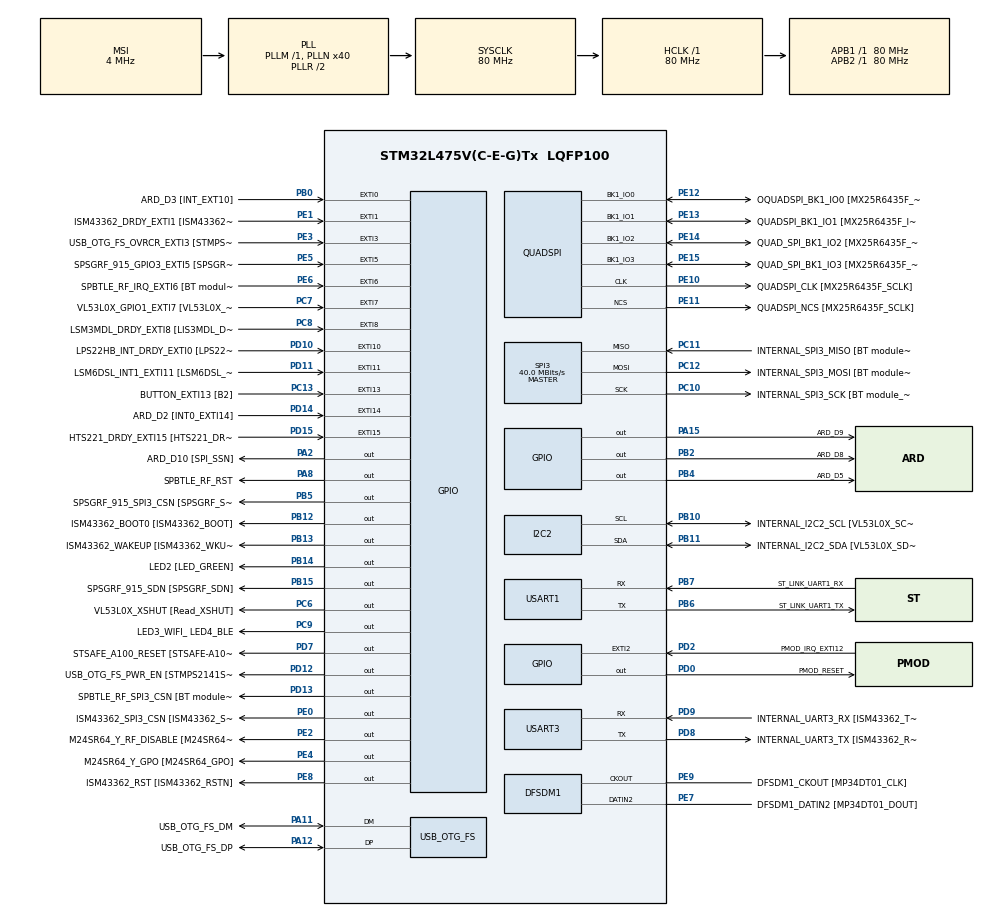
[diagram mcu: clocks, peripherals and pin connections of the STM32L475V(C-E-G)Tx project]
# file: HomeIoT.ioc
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PD12.GPIO_Label=USB_OTG_FS_PWR_EN [STMPS2141STR_EN]
SPI3.Direction=SPI_DIRECTION_2LINES
SPI3.VirtualType=VM_MASTER
QUADSPI.ClockPrescaler=2
PB10.Mode=I2C
PC12.Signal=SPI3_MOSI
PB14.GPIO_Label=LED2 [LED_GREEN]
PC6.GPIO_Label=VL53L0X_XSHUT [Read_XSHUT]
PA6.GPIO_Label=ARD_D12 [SPI1_MISO]
PB6.GPIO_Label=ST_LINK_UART1_TX
PA15\ (JTDI).Signal=GPIO_Output
PC15-OSC32_OUT\ (PC15).Mode=LSE-External-Oscillator
PB13.Signal=GPIO_Output
PD6.GPIO_Label=PMOD_UART2_RX
PE6.GPIO_Label=SPBTLE_RF_IRQ_EXTI6 [BT module_SPI_IRQ]
RCC.SYSCLKSource=RCC_SYSCLKSOURCE_PLLCLK
PC14-OSC32_IN\ (PC14).Mode=LSE-External-Oscillator
SH.ADCx_IN16.0=ADC1_IN16
USART3.VirtualMode-Asynchronous=VM_ASYNC
PA14\ (JTCK-SWCLK).Signal=SYS_JTCK-SWCLK
PD4.Signal=USART2_RTS
RCC.APB2TimFreq_Value=80000000
PB6.Signal=USART1_TX
PC7.Signal=GPXTI7
PB6.Mode=Asynchronous
PC3.Signal=ADCx_IN4
PD0.Signal=GPIO_Output
PD8.Signal=USART3_TX
PE5.Signal=GPXTI5
PE1.Signal=GPXTI1
QUADSPI.FlashSize=23
NVIC.EXTI15_10_IRQn=true\:0\:0\:false\:false\:true\:true\:true
PB2.Signal=GPIO_Output
PD1.GPIO_Label=PMOD_SPI2_SCK
PB12.GPIO_Label=ISM43362_BOOT0 [ISM43362_BOOT]
PC4.GPIO_Label=ARD_A1 [ADC]
PE9.Signal=S_CKOUTDFSDM1
PB1.GPIO_Label=ARD_D6 [ADC1_IN6]
PE4.GPIO_Label=M24SR64_Y_GPO [M24SR64_GPO]
PE2.Signal=GPIO_Output
PA8.Signal=GPIO_Output
PE13.Mode=Single Bank
PE10.Signal=QUADSPI_CLK
PA0.Signal=UART4_TX
Mcu.Package=LQFP100
PB9.Signal=I2C1_SDA
PB1.Signal=ADCx_IN16
SPI3.Mode=SPI_MODE_MASTER
SH.ADCx_IN14.0=ADC1_IN14
PD12.Signal=GPIO_Output
PA10.Signal=USB_OTG_FS_ID
PE12.GPIO_Label=OQUADSPI_BK1_IO0 [MX25R6435F_IO0]
PC11.Mode=Full_Duplex_Master
SH.ADCx_IN9.0=ADC1_IN9
RCC.APB1TimFreq_Value=80000000
PA13\ (JTMS-SWDIO).Signal=SYS_JTMS-SWDIO
PE10.GPIO_Label=QUADSPI_CLK [MX25R6435F_SCLK]
PA4.GPIO_Label=ARD_D7
PD15.Signal=GPXTI15
PE12.Mode=Single Bank
PD9.GPIO_Label=INTERNAL_UART3_RX [ISM43362_TX]
PA9.GPIO_Label=USB_OTG_FS_VBUS [STMPS2141STR_OUT]
PC13.Signal=GPXTI13
PD3.Signal=USART2_CTS
PC6.Signal=GPIO_Output
PE10.Mode=Single Bank
PC2.Signal=ADCx_IN3
PB11.GPIO_Label=INTERNAL_I2C2_SDA [VL53L0X_SDA]
PD7.Signal=GPIO_Output
PD1.Signal=SPI2_SCK
PA11.GPIO_Label=USB_OTG_FS_DM
PC0.Signal=ADCx_IN1
PD10.Signal=GPXTI10
PB8.GPIO_Label=ARD_D15 [I2C1_SCL]
PA8.GPIO_Label=SPBTLE_RF_RST
PB11.Mode=I2C
PE8.GPIO_Label=ISM43362_RST [ISM43362_RSTN]
PA9.Signal=USB_OTG_FS_VBUS
PE9.GPIO_Label=DFSDM1_CKOUT [MP34DT01_CLK]
PD8.Mode=Asynchronous
PB10.Signal=I2C2_SCL
PB14.Signal=GPIO_Output
PA5.Signal=SPI1_SCK
PC12.Mode=Full_Duplex_Master
PE1.GPIO_Label=ISM43362_DRDY_EXTI1 [ISM43362_DATARDY]
PE14.Signal=QUADSPI_BK1_IO2
PE15.Signal=QUADSPI_BK1_IO3
PB15.GPIO_Label=SPSGRF_915_SDN [SPSGRF_SDN]
PE8.Signal=GPIO_Output
PA1.GPIO_Label=ARD_D0 [UART4_RX]
SH.ADCx_IN4.0=ADC1_IN4
QUADSPI.FifoThreshold=4
PC7.GPIO_Label=VL53L0X_GPIO1_EXTI7 [VL53L0X_GPIO1]
PA13\ (JTMS-SWDIO).Mode=Serial_Wire
PA4.Signal=ADCx_IN9
PB5.Signal=GPIO_Output
PE13.GPIO_Label=QUADSPI_BK1_IO1 [MX25R6435F_IO1]
PA5.GPIO_Label=ARD_D13 [SPI1_SCK]
PD11.Signal=GPXTI11
PE5.GPIO_Label=SPSGRF_915_GPIO3_EXTI5 [SPSGRF_GPIO_3]
PC12.GPIO_Label=INTERNAL_SPI3_MOSI [BT module_SPI_MOSI] [ISM43362_MOSI]
PA11.Signal=USB_OTG_FS_DM
ProjectManager.HeapSize=0x200
NVIC.PriorityGroup=NVIC_PRIORITYGROUP_4
PE3.Signal=GPXTI3
PC3.GPIO_Label=ARD_A2 [ADC]
PB4\ (NJTRST).GPIO_Label=ARD_D5
PD2.Signal=GPXTI2
PB0.Signal=GPXTI0
PC1.Signal=ADCx_IN2
PD2.GPIO_Label=PMOD_IRQ_EXTI12
PE15.Mode=Single Bank
Mcu.Family=STM32L4
RCC.CortexFreq_Value=80000000
PE11.GPIO_Label=QUADSPI_NCS [MX25R6435F_SCLK]
SH.ADCx_IN2.0=ADC1_IN2
PC10.Signal=SPI3_SCK
I2C2.Timing=0x10909CEC
PA0.GPIO_Label=ARD_D1 [UART4_TX]
PC0.GPIO_Label=ARD_A5 [ADC]
PD0.GPIO_Label=PMOD_RESET
PA11.Mode=Device_Only
PB0.GPIO_Label=ARD_D3 [INT_EXT10]
PC13.GPIO_Label=BUTTON_EXTI13 [B2]
PB13.GPIO_Label=ISM43362_WAKEUP [ISM43362_WKUP]
PB11.Signal=I2C2_SDA
PB15.Signal=GPIO_Output
PD9.Mode=Asynchronous
ProjectManager.StackSize=0x400
PB3\ (JTDO-TRACESWO).Signal=SYS_JTDO-SWO
PD13.Signal=GPIO_Output
PA12.Signal=USB_OTG_FS_DP
PE11.Mode=Single Bank
PD11.GPIO_Label=LSM6DSL_INT1_EXTI11 [LSM6DSL_INT1]
RCC.HCLKFreq_Value=80000000
SH.ADCx_IN3.0=ADC1_IN3
PB5.PinState=GPIO_PIN_SET
RCC.AHBFreq_Value=80000000
RCC.HSE_VALUE=8000000
PE13.Signal=QUADSPI_BK1_IO1
PC11.GPIO_Label=INTERNAL_SPI3_MISO [BT module_SPI_MISO] [ISM43362_MISO]
PA10.GPIO_Label=USB_OTG_FS_ID
PB7.Signal=USART1_RX
PE4.Signal=GPIO_Output
QUADSPI.SampleShifting=QSPI_SAMPLE_SHIFTING_HALFCYCLE
PD7.GPIO_Label=STSAFE_A100_RESET [STSAFE-A100_RESET]
PB7.GPIO_Label=ST_LINK_UART1_RX
PD13.GPIO_Label=SPBTLE_RF_SPI3_CSN [BT module_SPI_CS]
PA6.Signal=SPI1_MISO
PD5.GPIO_Label=PMOD_UART2_TX
PA2.GPIO_Label=ARD_D10 [SPI_SSN]
USB_OTG_FS.VirtualMode=Device_Only
PE0.GPIO_Label=ISM43362_SPI3_CSN [ISM43362_SSN]
SH.ADCx_IN1.0=ADC1_IN1
PB5.GPIO_Label=SPSGRF_915_SPI3_CSN [SPSGRF_SPI_CS]
PC5.Signal=ADCx_IN14
PD3.GPIO_Label=PMOD_UART2_CTS
PE7.Signal=S_DATAIN2DFSDM1
PD6.Signal=USART2_RX
PE2.GPIO_Label=M24SR64_Y_RF_DISABLE [M24SR64_RFDIS]
PC2.GPIO_Label=ARD_A3 [ADC]
RCC.PLLSAI1N=24
PA3.Signal=S_TIM2_CH4
RCC.MSI_VALUE=4000000
PA14\ (JTCK-SWCLK).Mode=Serial_Wire
SH.ADCx_IN13.0=ADC1_IN13
PD15.GPIO_Label=HTS221_DRDY_EXTI15 [HTS221_DRDY]
PB9.GPIO_Label=ARD_D14 [I2C1_SDA]
PC10.GPIO_Label=INTERNAL_SPI3_SCK [BT module_SPI_SCLK] [ISM43362_SCK]
PC9.GPIO_Label=LED3_WIFI_ LED4_BLE
PC11.Signal=SPI3_MISO
PC8.Signal=GPXTI8
PC4.Signal=ADCx_IN13
PC10.Mode=Full_Duplex_Master
SH.S_DATAIN2DFSDM1.0=DFSDM1_DATIN2,PDM_SPI_Input_from_ch12_and_Internal_Clock
PE14.GPIO_Label=QUAD_SPI_BK1_IO2 [MX25R6435F_IO2]
PC15-OSC32_OUT\ (PC15).Signal=RCC_OSC32_OUT
PD9.Signal=USART3_RX
PD5.Signal=USART2_TX
PA14\ (JTCK-SWCLK).GPIO_Label=SYS_JTCK_SWCLK
PB3\ (JTDO-TRACESWO).GPIO_Label=SYS_JTD0_SWO
PA12.GPIO_Label=USB_OTG_FS_DP
PD8.GPIO_Label=INTERNAL_UART3_TX [ISM43362_RX]
PC8.GPIO_Label=LSM3MDL_DRDY_EXTI8 [LIS3MDL_DRDY]
USART1.VirtualMode-Asynchronous=VM_ASYNC
PE0.PinState=GPIO_PIN_SET
PE15.GPIO_Label=QUAD_SPI_BK1_IO3 [MX25R6435F_IO3]
ProjectManager.TargetToolchain=STM32CubeIDE
PB10.GPIO_Label=INTERNAL_I2C2_SCL [VL53L0X_SCL]
RCC.USBFreq_Value=48000000
PD10.GPIO_Label=LPS22HB_INT_DRDY_EXTI0 [LPS22HB_INT_DRDY] 
PE11.Signal=QUADSPI_NCS
PA1.Signal=UART4_RX
board=B-L475E-IOT01A2
RCC.VCOOutputFreq_Value=160000000
RCC.APB2Freq_Value=80000000
SPI3.CalculateBaudRate=40.0 MBits/s
PA13\ (JTMS-SWDIO).GPIO_Label=SYS_JTMS_SWDIO
PD4.GPIO_Label=PMOD_UART2_RTS
PE14.Mode=Single Bank
SH.S_CKOUTDFSDM1.0=DFSDM1_CKOUT,CKOUT
SH.S_CKOUTDFSDM1.1=DFSDM1_CKOUT,PDM_SPI_Input_from_ch12_and_Internal_Clock
RCC.ADCFreq_Value=48000000
PC1.GPIO_Label=ARD_A4 [ADC]
PD14.GPIO_Label=ARD_D2 [INT0_EXTI14]
PE6.Signal=GPXTI6
PA15\ (JTDI).GPIO_Label=ARD_D9
Mcu.Name=STM32L475V(C-E-G)Tx
PE0.Signal=GPIO_Output
PE7.GPIO_Label=DFSDM1_DATIN2 [MP34DT01_DOUT]
PE12.Signal=QUADSPI_BK1_IO0
PA2.Signal=GPIO_Output
PD14.Signal=GPXTI14
RCC.SYSCLKFreq_VALUE=80000000
PA7.GPIO_Label=ARD_D11 [SPI1_MOSI]
PA12.Mode=Device_Only
PC13.GPIO_ModeDefaultEXTI=GPIO_MODE_IT_FALLING
PC5.GPIO_Label=ARD_A0 [ADC]
PC14-OSC32_IN\ (PC14).Signal=RCC_OSC32_IN
PB7.Mode=Asynchronous
NVIC.EXTI9_5_IRQn=true\:0\:0\:false\:false\:true\:true\:true
PB2.GPIO_Label=ARD_D8
SH.S_TIM2_CH4.0=TIM2_CH4
RCC.HSI_VALUE=16000000
RCC.PLLN=40
PB8.Signal=I2C1_SCL
PE3.GPIO_Label=USB_OTG_FS_OVRCR_EXTI3 [STMPS2141STR_FAULT]
PC9.Signal=GPIO_Output
PD13.PinState=GPIO_PIN_SET
RCC.APB1Freq_Value=80000000
PB12.Signal=GPIO_Output
PA3.GPIO_Label=ARD_D4
PA7.Signal=SPI1_MOSI
PB4\ (NJTRST).Signal=GPIO_Output

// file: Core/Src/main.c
/* USER CODE BEGIN Header */
/**
  ******************************************************************************
  * @file           : main.c
  * @brief          : Main program body
  ******************************************************************************
  * @attention
  *
  * <h2><center>&copy; Copyright (c) 2021 STMicroelectronics.
  * All rights reserved.</center></h2>
  *
  * This software component is licensed by ST under BSD 3-Clause license,
  * the "License"; You may not use this file except in compliance with the
  * License. You may obtain a copy of the License at:
  *                        opensource.org/licenses/BSD-3-Clause
  *
  ******************************************************************************
  */
/* USER CODE END Header */

#include "main.h"

/* USER CODE BEGIN Includes */
#include <stdio.h>

#include "stm32l475e_iot01.h"
#include "stm32l475e_iot01_tsensor.h"
#include "stm32l475e_iot01_hsensor.h"
#include <math.h>
/* USER CODE END Includes */

DFSDM_Channel_HandleTypeDef hdfsdm1_channel1;

I2C_HandleTypeDef hi2c2;

QSPI_HandleTypeDef hqspi;

SPI_HandleTypeDef hspi3;

UART_HandleTypeDef huart1;
UART_HandleTypeDef huart3;

PCD_HandleTypeDef hpcd_USB_OTG_FS;

/* USER CODE BEGIN PV */
/* Private variables -------------------------------------------------------*/
float temp_value = 0;  // Measured temperature value
char str_tmp[100] = ""; // Formatted message to display the temperature value
uint8_t msg1[] = "****** Temperature values measurement ******\n\n\r";
uint8_t msg2[] = "=====> Initialize Temperature sensor HTS221 \r\n";
uint8_t msg3[] = "=====> Temperature sensor HTS221 initialized \r\n ";
/* USER CODE END PV */

void SystemClock_Config(void);
static void MX_GPIO_Init(void);
static void MX_DFSDM1_Init(void);
static void MX_I2C2_Init(void);
static void MX_QUADSPI_Init(void);
static void MX_SPI3_Init(void);
static void MX_USART1_UART_Init(void);
static void MX_USART3_UART_Init(void);
static void MX_USB_OTG_FS_PCD_Init(void);

/* USER CODE BEGIN 0 */
int _write(int file, char *ptr, int len)
{
  /* Implement your write code here, this is used by puts and printf for example */
  int i=0;
  for(i=0 ; i<len ; i++)
    ITM_SendChar((*ptr++));
  return len;
}
/* USER CODE END 0 */

int main(void)
{

  /* MCU Configuration--------------------------------------------------------*/

  /* Reset of all peripherals, Initializes the Flash interface and the Systick. */
  HAL_Init();

  /* Configure the system clock */
  SystemClock_Config();

  /* Initialize all configured peripherals */
  MX_GPIO_Init();
  MX_DFSDM1_Init();
  MX_I2C2_Init();
  MX_QUADSPI_Init();
  MX_SPI3_Init();
  MX_USART1_UART_Init();
  MX_USART3_UART_Init();
  MX_USB_OTG_FS_PCD_Init();
  /* USER CODE BEGIN 2 */
  // HTS221 Temperature
  HAL_UART_Transmit(&huart1,msg1,sizeof(msg1),1000);
  HAL_UART_Transmit(&huart1,msg2,sizeof(msg2),1000);
  BSP_TSENSOR_Init();
  HAL_UART_Transmit(&huart1,msg3,sizeof(msg3),1000);

  // HTS221 Humidity
  BSP_HSENSOR_Init();
  /* USER CODE END 2 */

  /* Infinite loop */
  while (1)
  {

    /* USER CODE BEGIN 3 */
    // LED2
    HAL_GPIO_TogglePin(LED2_GPIO_Port, LED2_Pin);

    // HTS221 Temperature
    //  temp_value = BSP_TSENSOR_ReadTemp();
    // int tmpInt1 = temp_value;
    // float tmpFrac = temp_value - tmpInt1;
    // int tmpInt2 = trunc(tmpFrac * 100);
    // printf("TEMPERATURE = %d.%02d\n", tmpInt1, tmpInt2);
//    snprintf(str_tmp,100," TEMPERATURE = %d.%02d\n\r", tmpInt1, tmpInt2);
//    HAL_UART_Transmit(&huart1,( uint8_t * )str_tmp,sizeof(str_tmp),1000);

    // HTS221 Humidity
    temp_value = BSP_HSENSOR_ReadHumidity();
    int tmpInt1 = temp_value;
    float tmpFrac = temp_value - tmpInt1;
    int tmpInt2 = trunc(tmpFrac * 100);
    printf("HUMIDITY = %d.%02d\n", tmpInt1, tmpInt2);

    HAL_Delay(1000);
  }
  /* USER CODE END 3 */
}

void SystemClock_Config(void)
{
  RCC_OscInitTypeDef RCC_OscInitStruct = {0};
  RCC_ClkInitTypeDef RCC_ClkInitStruct = {0};
  RCC_PeriphCLKInitTypeDef PeriphClkInit = {0};

  /** Configure LSE Drive Capability
  */
  HAL_PWR_EnableBkUpAccess();
  __HAL_RCC_LSEDRIVE_CONFIG(RCC_LSEDRIVE_LOW);
  /** Initializes the RCC Oscillators according to the specified parameters
  * in the RCC_OscInitTypeDef structure.
  */
  RCC_OscInitStruct.OscillatorType = RCC_OSCILLATORTYPE_LSE|RCC_OSCILLATORTYPE_MSI;
  RCC_OscInitStruct.LSEState = RCC_LSE_ON;
  RCC_OscInitStruct.MSIState = RCC_MSI_ON;
  RCC_OscInitStruct.MSICalibrationValue = 0;
  RCC_OscInitStruct.MSIClockRange = RCC_MSIRANGE_6;
  RCC_OscInitStruct.PLL.PLLState = RCC_PLL_ON;
  RCC_OscInitStruct.PLL.PLLSource = RCC_PLLSOURCE_MSI;
  RCC_OscInitStruct.PLL.PLLM = 1;
  RCC_OscInitStruct.PLL.PLLN = 40;
  RCC_OscInitStruct.PLL.PLLP = RCC_PLLP_DIV7;
  RCC_OscInitStruct.PLL.PLLQ = RCC_PLLQ_DIV2;
  RCC_OscInitStruct.PLL.PLLR = RCC_PLLR_DIV2;
  if (HAL_RCC_OscConfig(&RCC_OscInitStruct) != HAL_OK)
  {
    Error_Handler();
  }
  /** Initializes the CPU, AHB and APB buses clocks
  */
  RCC_ClkInitStruct.ClockType = RCC_CLOCKTYPE_HCLK|RCC_CLOCKTYPE_SYSCLK
                              |RCC_CLOCKTYPE_PCLK1|RCC_CLOCKTYPE_PCLK2;
  RCC_ClkInitStruct.SYSCLKSource = RCC_SYSCLKSOURCE_PLLCLK;
  RCC_ClkInitStruct.AHBCLKDivider = RCC_SYSCLK_DIV1;
  RCC_ClkInitStruct.APB1CLKDivider = RCC_HCLK_DIV1;
  RCC_ClkInitStruct.APB2CLKDivider = RCC_HCLK_DIV1;

  if (HAL_RCC_ClockConfig(&RCC_ClkInitStruct, FLASH_LATENCY_4) != HAL_OK)
  {
    Error_Handler();
  }
  PeriphClkInit.PeriphClockSelection = RCC_PERIPHCLK_USART1|RCC_PERIPHCLK_USART3
                              |RCC_PERIPHCLK_I2C2|RCC_PERIPHCLK_DFSDM1
                              |RCC_PERIPHCLK_USB;
  PeriphClkInit.Usart1ClockSelection = RCC_USART1CLKSOURCE_PCLK2;
  PeriphClkInit.Usart3ClockSelection = RCC_USART3CLKSOURCE_PCLK1;
  PeriphClkInit.I2c2ClockSelection = RCC_I2C2CLKSOURCE_PCLK1;
  PeriphClkInit.Dfsdm1ClockSelection = RCC_DFSDM1CLKSOURCE_PCLK;
  PeriphClkInit.UsbClockSelection = RCC_USBCLKSOURCE_PLLSAI1;
  PeriphClkInit.PLLSAI1.PLLSAI1Source = RCC_PLLSOURCE_MSI;
  PeriphClkInit.PLLSAI1.PLLSAI1M = 1;
  PeriphClkInit.PLLSAI1.PLLSAI1N = 24;
  PeriphClkInit.PLLSAI1.PLLSAI1P = RCC_PLLP_DIV7;
  PeriphClkInit.PLLSAI1.PLLSAI1Q = RCC_PLLQ_DIV2;
  PeriphClkInit.PLLSAI1.PLLSAI1R = RCC_PLLR_DIV2;
  PeriphClkInit.PLLSAI1.PLLSAI1ClockOut = RCC_PLLSAI1_48M2CLK;
  if (HAL_RCCEx_PeriphCLKConfig(&PeriphClkInit) != HAL_OK)
  {
    Error_Handler();
  }
  /** Configure the main internal regulator output voltage
  */
  if (HAL_PWREx_ControlVoltageScaling(PWR_REGULATOR_VOLTAGE_SCALE1) != HAL_OK)
  {
    Error_Handler();
  }
  /** Enable MSI Auto calibration
  */
  HAL_RCCEx_EnableMSIPLLMode();
}

static void MX_DFSDM1_Init(void)
{

  hdfsdm1_channel1.Instance = DFSDM1_Channel1;
  hdfsdm1_channel1.Init.OutputClock.Activation = ENABLE;
  hdfsdm1_channel1.Init.OutputClock.Selection = DFSDM_CHANNEL_OUTPUT_CLOCK_SYSTEM;
  hdfsdm1_channel1.Init.OutputClock.Divider = 2;
  hdfsdm1_channel1.Init.Input.Multiplexer = DFSDM_CHANNEL_EXTERNAL_INPUTS;
  hdfsdm1_channel1.Init.Input.DataPacking = DFSDM_CHANNEL_STANDARD_MODE;
  hdfsdm1_channel1.Init.Input.Pins = DFSDM_CHANNEL_FOLLOWING_CHANNEL_PINS;
  hdfsdm1_channel1.Init.SerialInterface.Type = DFSDM_CHANNEL_SPI_RISING;
  hdfsdm1_channel1.Init.SerialInterface.SpiClock = DFSDM_CHANNEL_SPI_CLOCK_INTERNAL;
  hdfsdm1_channel1.Init.Awd.FilterOrder = DFSDM_CHANNEL_FASTSINC_ORDER;
  hdfsdm1_channel1.Init.Awd.Oversampling = 1;
  hdfsdm1_channel1.Init.Offset = 0;
  hdfsdm1_channel1.Init.RightBitShift = 0x00;
  if (HAL_DFSDM_ChannelInit(&hdfsdm1_channel1) != HAL_OK)
  {
    Error_Handler();
  }

}

static void MX_I2C2_Init(void)
{

  hi2c2.Instance = I2C2;
  hi2c2.Init.Timing = 0x10909CEC;
  hi2c2.Init.OwnAddress1 = 0;
  hi2c2.Init.AddressingMode = I2C_ADDRESSINGMODE_7BIT;
  hi2c2.Init.DualAddressMode = I2C_DUALADDRESS_DISABLE;
  hi2c2.Init.OwnAddress2 = 0;
  hi2c2.Init.OwnAddress2Masks = I2C_OA2_NOMASK;
  hi2c2.Init.GeneralCallMode = I2C_GENERALCALL_DISABLE;
  hi2c2.Init.NoStretchMode = I2C_NOSTRETCH_DISABLE;
  if (HAL_I2C_Init(&hi2c2) != HAL_OK)
  {
    Error_Handler();
  }
  /** Configure Analogue filter
  */
  if (HAL_I2CEx_ConfigAnalogFilter(&hi2c2, I2C_ANALOGFILTER_ENABLE) != HAL_OK)
  {
    Error_Handler();
  }
  /** Configure Digital filter
  */
  if (HAL_I2CEx_ConfigDigitalFilter(&hi2c2, 0) != HAL_OK)
  {
    Error_Handler();
  }

}

static void MX_QUADSPI_Init(void)
{

  /* QUADSPI parameter configuration*/
  hqspi.Instance = QUADSPI;
  hqspi.Init.ClockPrescaler = 2;
  hqspi.Init.FifoThreshold = 4;
  hqspi.Init.SampleShifting = QSPI_SAMPLE_SHIFTING_HALFCYCLE;
  hqspi.Init.FlashSize = 23;
  hqspi.Init.ChipSelectHighTime = QSPI_CS_HIGH_TIME_1_CYCLE;
  hqspi.Init.ClockMode = QSPI_CLOCK_MODE_0;
  if (HAL_QSPI_Init(&hqspi) != HAL_OK)
  {
    Error_Handler();
  }

}

static void MX_SPI3_Init(void)
{

  /* SPI3 parameter configuration*/
  hspi3.Instance = SPI3;
  hspi3.Init.Mode = SPI_MODE_MASTER;
  hspi3.Init.Direction = SPI_DIRECTION_2LINES;
  hspi3.Init.DataSize = SPI_DATASIZE_4BIT;
  hspi3.Init.CLKPolarity = SPI_POLARITY_LOW;
  hspi3.Init.CLKPhase = SPI_PHASE_1EDGE;
  hspi3.Init.NSS = SPI_NSS_SOFT;
  hspi3.Init.BaudRatePrescaler = SPI_BAUDRATEPRESCALER_2;
  hspi3.Init.FirstBit = SPI_FIRSTBIT_MSB;
  hspi3.Init.TIMode = SPI_TIMODE_DISABLE;
  hspi3.Init.CRCCalculation = SPI_CRCCALCULATION_DISABLE;
  hspi3.Init.CRCPolynomial = 7;
  hspi3.Init.CRCLength = SPI_CRC_LENGTH_DATASIZE;
  hspi3.Init.NSSPMode = SPI_NSS_PULSE_ENABLE;
  if (HAL_SPI_Init(&hspi3) != HAL_OK)
  {
    Error_Handler();
  }

}

static void MX_USART1_UART_Init(void)
{

  huart1.Instance = USART1;
  huart1.Init.BaudRate = 115200;
  huart1.Init.WordLength = UART_WORDLENGTH_8B;
  huart1.Init.StopBits = UART_STOPBITS_1;
  huart1.Init.Parity = UART_PARITY_NONE;
  huart1.Init.Mode = UART_MODE_TX_RX;
  huart1.Init.HwFlowCtl = UART_HWCONTROL_NONE;
  huart1.Init.OverSampling = UART_OVERSAMPLING_16;
  huart1.Init.OneBitSampling = UART_ONE_BIT_SAMPLE_DISABLE;
  huart1.AdvancedInit.AdvFeatureInit = UART_ADVFEATURE_NO_INIT;
  if (HAL_UART_Init(&huart1) != HAL_OK)
  {
    Error_Handler();
  }

}

static void MX_USART3_UART_Init(void)
{

  huart3.Instance = USART3;
  huart3.Init.BaudRate = 115200;
  huart3.Init.WordLength = UART_WORDLENGTH_8B;
  huart3.Init.StopBits = UART_STOPBITS_1;
  huart3.Init.Parity = UART_PARITY_NONE;
  huart3.Init.Mode = UART_MODE_TX_RX;
  huart3.Init.HwFlowCtl = UART_HWCONTROL_NONE;
  huart3.Init.OverSampling = UART_OVERSAMPLING_16;
  huart3.Init.OneBitSampling = UART_ONE_BIT_SAMPLE_DISABLE;
  huart3.AdvancedInit.AdvFeatureInit = UART_ADVFEATURE_NO_INIT;
  if (HAL_UART_Init(&huart3) != HAL_OK)
  {
    Error_Handler();
  }

}

static void MX_USB_OTG_FS_PCD_Init(void)
{

  hpcd_USB_OTG_FS.Instance = USB_OTG_FS;
  hpcd_USB_OTG_FS.Init.dev_endpoints = 6;
  hpcd_USB_OTG_FS.Init.speed = PCD_SPEED_FULL;
  hpcd_USB_OTG_FS.Init.phy_itface = PCD_PHY_EMBEDDED;
  hpcd_USB_OTG_FS.Init.Sof_enable = DISABLE;
  hpcd_USB_OTG_FS.Init.low_power_enable = DISABLE;
  hpcd_USB_OTG_FS.Init.lpm_enable = DISABLE;
  hpcd_USB_OTG_FS.Init.battery_charging_enable = DISABLE;
  hpcd_USB_OTG_FS.Init.use_dedicated_ep1 = DISABLE;
  hpcd_USB_OTG_FS.Init.vbus_sensing_enable = DISABLE;
  if (HAL_PCD_Init(&hpcd_USB_OTG_FS) != HAL_OK)
  {
    Error_Handler();
  }

}

static void MX_GPIO_Init(void)
{
  GPIO_InitTypeDef GPIO_InitStruct = {0};

  /* GPIO Ports Clock Enable */
  __HAL_RCC_GPIOE_CLK_ENABLE();
  __HAL_RCC_GPIOC_CLK_ENABLE();
  __HAL_RCC_GPIOA_CLK_ENABLE();
  __HAL_RCC_GPIOB_CLK_ENABLE();
  __HAL_RCC_GPIOD_CLK_ENABLE();

  /*Configure GPIO pin Output Level */
  HAL_GPIO_WritePin(GPIOE, M24SR64_Y_RF_DISABLE_Pin|M24SR64_Y_GPO_Pin|ISM43362_RST_Pin, GPIO_PIN_RESET);

  /*Configure GPIO pin Output Level */
  HAL_GPIO_WritePin(GPIOA, ARD_D10_Pin|SPBTLE_RF_RST_Pin|ARD_D9_Pin, GPIO_PIN_RESET);

  /*Configure GPIO pin Output Level */
  HAL_GPIO_WritePin(GPIOB, ARD_D8_Pin|ISM43362_BOOT0_Pin|ISM43362_WAKEUP_Pin|LED2_Pin
                          |SPSGRF_915_SDN_Pin|ARD_D5_Pin, GPIO_PIN_RESET);

  /*Configure GPIO pin Output Level */
  HAL_GPIO_WritePin(GPIOD, USB_OTG_FS_PWR_EN_Pin|PMOD_RESET_Pin|STSAFE_A100_RESET_Pin, GPIO_PIN_RESET);

  /*Configure GPIO pin Output Level */
  HAL_GPIO_WritePin(SPBTLE_RF_SPI3_CSN_GPIO_Port, SPBTLE_RF_SPI3_CSN_Pin, GPIO_PIN_SET);

  /*Configure GPIO pin Output Level */
  HAL_GPIO_WritePin(GPIOC, VL53L0X_XSHUT_Pin|LED3_WIFI__LED4_BLE_Pin, GPIO_PIN_RESET);

  /*Configure GPIO pin Output Level */
  HAL_GPIO_WritePin(SPSGRF_915_SPI3_CSN_GPIO_Port, SPSGRF_915_SPI3_CSN_Pin, GPIO_PIN_SET);

  /*Configure GPIO pin Output Level */
  HAL_GPIO_WritePin(ISM43362_SPI3_CSN_GPIO_Port, ISM43362_SPI3_CSN_Pin, GPIO_PIN_SET);

  /*Configure GPIO pins : M24SR64_Y_RF_DISABLE_Pin M24SR64_Y_GPO_Pin ISM43362_RST_Pin ISM43362_SPI3_CSN_Pin */
  GPIO_InitStruct.Pin = M24SR64_Y_RF_DISABLE_Pin|M24SR64_Y_GPO_Pin|ISM43362_RST_Pin|ISM43362_SPI3_CSN_Pin;
  GPIO_InitStruct.Mode = GPIO_MODE_OUTPUT_PP;
  GPIO_InitStruct.Pull = GPIO_NOPULL;
  GPIO_InitStruct.Speed = GPIO_SPEED_FREQ_LOW;
  HAL_GPIO_Init(GPIOE, &GPIO_InitStruct);

  /*Configure GPIO pins : USB_OTG_FS_OVRCR_EXTI3_Pin SPSGRF_915_GPIO3_EXTI5_Pin SPBTLE_RF_IRQ_EXTI6_Pin ISM43362_DRDY_EXTI1_Pin */
  GPIO_InitStruct.Pin = USB_OTG_FS_OVRCR_EXTI3_Pin|SPSGRF_915_GPIO3_EXTI5_Pin|SPBTLE_RF_IRQ_EXTI6_Pin|ISM43362_DRDY_EXTI1_Pin;
  GPIO_InitStruct.Mode = GPIO_MODE_IT_RISING;
  GPIO_InitStruct.Pull = GPIO_NOPULL;
  HAL_GPIO_Init(GPIOE, &GPIO_InitStruct);

  /*Configure GPIO pin : BUTTON_EXTI13_Pin */
  GPIO_InitStruct.Pin = BUTTON_EXTI13_Pin;
  GPIO_InitStruct.Mode = GPIO_MODE_IT_FALLING;
  GPIO_InitStruct.Pull = GPIO_NOPULL;
  HAL_GPIO_Init(BUTTON_EXTI13_GPIO_Port, &GPIO_InitStruct);

  /*Configure GPIO pins : ARD_A5_Pin ARD_A4_Pin ARD_A3_Pin ARD_A2_Pin
                           ARD_A1_Pin ARD_A0_Pin */
  GPIO_InitStruct.Pin = ARD_A5_Pin|ARD_A4_Pin|ARD_A3_Pin|ARD_A2_Pin
                          |ARD_A1_Pin|ARD_A0_Pin;
  GPIO_InitStruct.Mode = GPIO_MODE_ANALOG_ADC_CONTROL;
  GPIO_InitStruct.Pull = GPIO_NOPULL;
  HAL_GPIO_Init(GPIOC, &GPIO_InitStruct);

  /*Configure GPIO pins : ARD_D1_Pin ARD_D0_Pin */
  GPIO_InitStruct.Pin = ARD_D1_Pin|ARD_D0_Pin;
  GPIO_InitStruct.Mode = GPIO_MODE_AF_PP;
  GPIO_InitStruct.Pull = GPIO_NOPULL;
  GPIO_InitStruct.Speed = GPIO_SPEED_FREQ_VERY_HIGH;
  GPIO_InitStruct.Alternate = GPIO_AF8_UART4;
  HAL_GPIO_Init(GPIOA, &GPIO_InitStruct);

  /*Configure GPIO pins : ARD_D10_Pin SPBTLE_RF_RST_Pin ARD_D9_Pin */
  GPIO_InitStruct.Pin = ARD_D10_Pin|SPBTLE_RF_RST_Pin|ARD_D9_Pin;
  GPIO_InitStruct.Mode = GPIO_MODE_OUTPUT_PP;
  GPIO_InitStruct.Pull = GPIO_NOPULL;
  GPIO_InitStruct.Speed = GPIO_SPEED_FREQ_LOW;
  HAL_GPIO_Init(GPIOA, &GPIO_InitStruct);

  /*Configure GPIO pin : ARD_D4_Pin */
  GPIO_InitStruct.Pin = ARD_D4_Pin;
  GPIO_InitStruct.Mode = GPIO_MODE_AF_PP;
  GPIO_InitStruct.Pull = GPIO_NOPULL;
  GPIO_InitStruct.Speed = GPIO_SPEED_FREQ_LOW;
  GPIO_InitStruct.Alternate = GPIO_AF1_TIM2;
  HAL_GPIO_Init(ARD_D4_GPIO_Port, &GPIO_InitStruct);

  /*Configure GPIO pin : ARD_D7_Pin */
  GPIO_InitStruct.Pin = ARD_D7_Pin;
  GPIO_InitStruct.Mode = GPIO_MODE_ANALOG_ADC_CONTROL;
  GPIO_InitStruct.Pull = GPIO_NOPULL;
  HAL_GPIO_Init(ARD_D7_GPIO_Port, &GPIO_InitStruct);

  /*Configure GPIO pins : ARD_D13_Pin ARD_D12_Pin ARD_D11_Pin */
  GPIO_InitStruct.Pin = ARD_D13_Pin|ARD_D12_Pin|ARD_D11_Pin;
  GPIO_InitStruct.Mode = GPIO_MODE_AF_PP;
  GPIO_InitStruct.Pull = GPIO_NOPULL;
  GPIO_InitStruct.Speed = GPIO_SPEED_FREQ_VERY_HIGH;
  GPIO_InitStruct.Alternate = GPIO_AF5_SPI1;
  HAL_GPIO_Init(GPIOA, &GPIO_InitStruct);

  /*Configure GPIO pin : ARD_D3_Pin */
  GPIO_InitStruct.Pin = ARD_D3_Pin;
  GPIO_InitStruct.Mode = GPIO_MODE_IT_RISING;
  GPIO_InitStruct.Pull = GPIO_NOPULL;
  HAL_GPIO_Init(ARD_D3_GPIO_Port, &GPIO_InitStruct);

  /*Configure GPIO pin : ARD_D6_Pin */
  GPIO_InitStruct.Pin = ARD_D6_Pin;
  GPIO_InitStruct.Mode = GPIO_MODE_ANALOG_ADC_CONTROL;
  GPIO_InitStruct.Pull = GPIO_NOPULL;
  HAL_GPIO_Init(ARD_D6_GPIO_Port, &GPIO_InitStruct);

  /*Configure GPIO pins : ARD_D8_Pin ISM43362_BOOT0_Pin ISM43362_WAKEUP_Pin LED2_Pin
                           SPSGRF_915_SDN_Pin ARD_D5_Pin SPSGRF_915_SPI3_CSN_Pin */
  GPIO_InitStruct.Pin = ARD_D8_Pin|ISM43362_BOOT0_Pin|ISM43362_WAKEUP_Pin|LED2_Pin
                          |SPSGRF_915_SDN_Pin|ARD_D5_Pin|SPSGRF_915_SPI3_CSN_Pin;
  GPIO_InitStruct.Mode = GPIO_MODE_OUTPUT_PP;
  GPIO_InitStruct.Pull = GPIO_NOPULL;
  GPIO_InitStruct.Speed = GPIO_SPEED_FREQ_LOW;
  HAL_GPIO_Init(GPIOB, &GPIO_InitStruct);

  /*Configure GPIO pins : LPS22HB_INT_DRDY_EXTI0_Pin LSM6DSL_INT1_EXTI11_Pin ARD_D2_Pin HTS221_DRDY_EXTI15_Pin
                           PMOD_IRQ_EXTI12_Pin */
  GPIO_InitStruct.Pin = LPS22HB_INT_DRDY_EXTI0_Pin|LSM6DSL_INT1_EXTI11_Pin|ARD_D2_Pin|HTS221_DRDY_EXTI15_Pin
                          |PMOD_IRQ_EXTI12_Pin;
  GPIO_InitStruct.Mode = GPIO_MODE_IT_RISING;
  GPIO_InitStruct.Pull = GPIO_NOPULL;
  HAL_GPIO_Init(GPIOD, &GPIO_InitStruct);

  /*Configure GPIO pins : USB_OTG_FS_PWR_EN_Pin SPBTLE_RF_SPI3_CSN_Pin PMOD_RESET_Pin STSAFE_A100_RESET_Pin */
  GPIO_InitStruct.Pin = USB_OTG_FS_PWR_EN_Pin|SPBTLE_RF_SPI3_CSN_Pin|PMOD_RESET_Pin|STSAFE_A100_RESET_Pin;
  GPIO_InitStruct.Mode = GPIO_MODE_OUTPUT_PP;
  GPIO_InitStruct.Pull = GPIO_NOPULL;
  GPIO_InitStruct.Speed = GPIO_SPEED_FREQ_LOW;
  HAL_GPIO_Init(GPIOD, &GPIO_InitStruct);

  /*Configure GPIO pins : VL53L0X_XSHUT_Pin LED3_WIFI__LED4_BLE_Pin */
  GPIO_InitStruct.Pin = VL53L0X_XSHUT_Pin|LED3_WIFI__LED4_BLE_Pin;
  GPIO_InitStruct.Mode = GPIO_MODE_OUTPUT_PP;
  GPIO_InitStruct.Pull = GPIO_NOPULL;
  GPIO_InitStruct.Speed = GPIO_SPEED_FREQ_LOW;
  HAL_GPIO_Init(GPIOC, &GPIO_InitStruct);

  /*Configure GPIO pins : VL53L0X_GPIO1_EXTI7_Pin LSM3MDL_DRDY_EXTI8_Pin */
  GPIO_InitStruct.Pin = VL53L0X_GPIO1_EXTI7_Pin|LSM3MDL_DRDY_EXTI8_Pin;
  GPIO_InitStruct.Mode = GPIO_MODE_IT_RISING;
  GPIO_InitStruct.Pull = GPIO_NOPULL;
  HAL_GPIO_Init(GPIOC, &GPIO_InitStruct);

  /*Configure GPIO pin : PMOD_SPI2_SCK_Pin */
  GPIO_InitStruct.Pin = PMOD_SPI2_SCK_Pin;
  GPIO_InitStruct.Mode = GPIO_MODE_AF_PP;
  GPIO_InitStruct.Pull = GPIO_NOPULL;
  GPIO_InitStruct.Speed = GPIO_SPEED_FREQ_VERY_HIGH;
  GPIO_InitStruct.Alternate = GPIO_AF5_SPI2;
  HAL_GPIO_Init(PMOD_SPI2_SCK_GPIO_Port, &GPIO_InitStruct);

  /*Configure GPIO pins : PMOD_UART2_CTS_Pin PMOD_UART2_RTS_Pin PMOD_UART2_TX_Pin PMOD_UART2_RX_Pin */
  GPIO_InitStruct.Pin = PMOD_UART2_CTS_Pin|PMOD_UART2_RTS_Pin|PMOD_UART2_TX_Pin|PMOD_UART2_RX_Pin;
  GPIO_InitStruct.Mode = GPIO_MODE_AF_PP;
  GPIO_InitStruct.Pull = GPIO_NOPULL;
  GPIO_InitStruct.Speed = GPIO_SPEED_FREQ_VERY_HIGH;
  GPIO_InitStruct.Alternate = GPIO_AF7_USART2;
  HAL_GPIO_Init(GPIOD, &GPIO_InitStruct);

  /*Configure GPIO pins : ARD_D15_Pin ARD_D14_Pin */
  GPIO_InitStruct.Pin = ARD_D15_Pin|ARD_D14_Pin;
  GPIO_InitStruct.Mode = GPIO_MODE_AF_OD;
  GPIO_InitStruct.Pull = GPIO_PULLUP;
  GPIO_InitStruct.Speed = GPIO_SPEED_FREQ_VERY_HIGH;
  GPIO_InitStruct.Alternate = GPIO_AF4_I2C1;
  HAL_GPIO_Init(GPIOB, &GPIO_InitStruct);

  /* EXTI interrupt init*/
  HAL_NVIC_SetPriority(EXTI9_5_IRQn, 0, 0);
  HAL_NVIC_EnableIRQ(EXTI9_5_IRQn);

  HAL_NVIC_SetPriority(EXTI15_10_IRQn, 0, 0);
  HAL_NVIC_EnableIRQ(EXTI15_10_IRQn);

}

void Error_Handler(void)
{
  __disable_irq();
  while (1)
  {
  }
}

/************************ (C) COPYRIGHT STMicroelectronics *****END OF FILE****/
